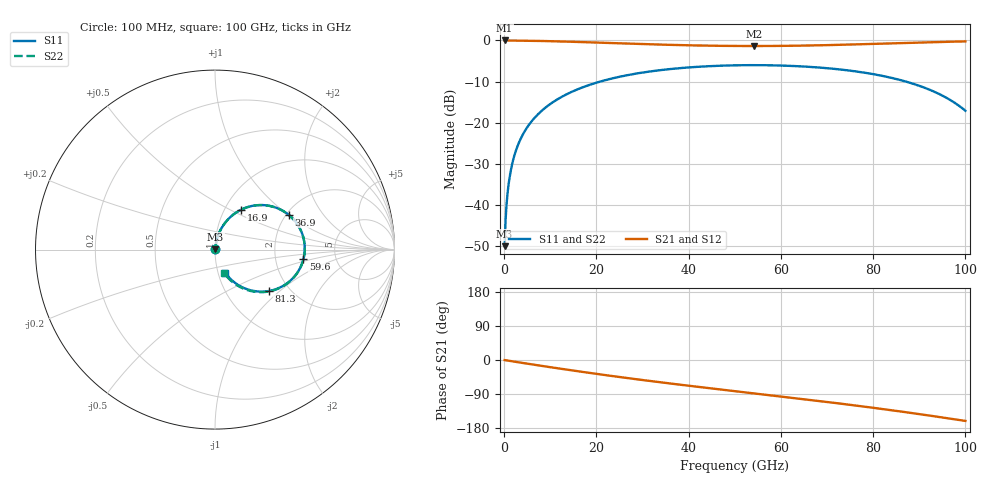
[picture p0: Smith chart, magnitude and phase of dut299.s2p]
! Touchstone file exported from HFSS 2026.1.0
!  File:  C:/ffzhzh/LocalFiles/Ansys_Project_Files/temp_train_RDL_299_1783502339_41296.aedt
!  Generated:  05:20:23 PM Jul  8, 2026
!  Design:  RDL
!  Project:  temp_train_RDL_299_1783502339_41296
! Variables:
!  h_bsmrdl = 2um
!  h_ox = 20um
!  h_rdl = 5um
!  h_sub = 80um
!  h_tmrdl = 4.1um
!  h_tsv = 80um
!  h_via = 3um
!  l_bsmrdl = 300um
!  l_sub = 949.33um
!  l_tmrdl = 549.33um
!  m_sub = 200um
!  pitch = 42.27um
!  r_tsv = 6um
!  s_tmrdl = 10um
!  w_bsmrdl = 18um
!  w_sub = 500um
!  w_tmrdl = 20.79um
!  x_tsv_center1 = 559.725um
!  x_tsv_center2 = 877.725um
!  x_tsv_center3 = 1447.845um
!  x_tsv_center4 = 1765.845um
!  x_tsv_center5 = 2335.965um
!  x_tsv_center6 = 2653.965um
# GHz S MA R 50.000000
! Terminal data exported
! Port[1] = TM_RDL1_1_T1
! Port[2] = TM_RDL1_1_T2
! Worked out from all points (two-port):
!   1000 points, 100 MHz to 100 GHz, reference 50 ohm
!   highest |S21| = -0.02 dB at 100 MHz (marker M1); lowest = -1.4 dB at 54.1 GHz (marker M2)
!   |S21| within 3 dB of the highest: start of sweep to end of sweep
!   lowest |S11| = -50.0 dB at 100 MHz (marker M3), VSWR 1.01, Z = 50.2 + j0.201 ohm
!   |S11| at or under -10 dB: start of sweep to 20.83 GHz; 87.09 GHz to end of sweep
!   |S22| runs from -50.0 to -6.0 dB; largest |S21 - S12| = 1.7e-14
!   S11 on the Smith chart (normalised r, x): 100 MHz: 1.00, +0.00; 16.9 GHz: 1.20, +0.57; 36.9 GHz: 2.06, +1.01; 59.6 GHz: 2.90, -0.42; 81.3 GHz: 1.57, -0.85; 100 GHz: 1.08, -0.28
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0.1  0.003174 39.1  0.9975 -0.2  0.9975 -0.2  0.003174 39.1
! Gamma 0 0 0 0
! Port Impedance 50 0 50 0
0.9  0.01675 77.4  0.9967 -1.8  0.9967 -1.8  0.01675 77.4
1.5  0.02733 80.0  0.9963 -2.9  0.9963 -2.9  0.02733 80.0
2.5  0.04499 80.3  0.9952 -4.9  0.9952 -4.9  0.04499 80.3
4  0.07108 78.5  0.9928 -7.7  0.9928 -7.7  0.07108 78.5
6.1  0.1065 75.0  0.9883 -11.7  0.9883 -11.7  0.1065 75.0
8.9  0.1517 70.2  0.9809 -16.9  0.9809 -16.9  0.1517 70.2
12.5  0.2065 64.0  0.9695 -23.5  0.9695 -23.5  0.2065 64.0
16.8  0.2663 56.8  0.9538 -31.1  0.9538 -31.1  0.2663 56.7
16.9  0.2676 56.6  0.9534 -31.3  0.9534 -31.3  0.2676 56.6
24.3  0.3542 44.5  0.9239 -43.8  0.9239 -43.8  0.3542 44.5
33.4  0.432 30.5  0.8901 -58.1  0.8901 -58.1  0.432 30.5
36.9  0.4537 25.4  0.8793 -63.3  0.8793 -63.3  0.4537 25.3
50.1  0.4979 6.8  0.8553 -82.3  0.8553 -82.3  0.4979 6.6
54.1  0.5003 1.3  0.8539 -87.9  0.8539 -87.9  0.5003 1.1
59.6  0.4955 -6.3  0.8566 -95.7  0.8566 -95.7  0.4955 -6.5
66.7  0.4749 -16.2  0.8675 -105.9  0.8675 -105.9  0.4749 -16.5
81.3  0.3772 -37.8  0.9116 -128.2  0.9116 -128.2  0.3772 -38.4
83.4  0.3566 -41.0  0.9194 -131.6  0.9194 -131.6  0.3565 -41.7
92.8  0.2441 -55.8  0.9529 -147.7  0.9529 -147.7  0.2439 -57.1
96.4  0.1935 -61.3  0.9634 -154.2  0.9634 -154.2  0.1932 -63.1
100  0.1398 -66.1  0.9712 -160.8  0.9712 -160.8  0.1394 -68.8
